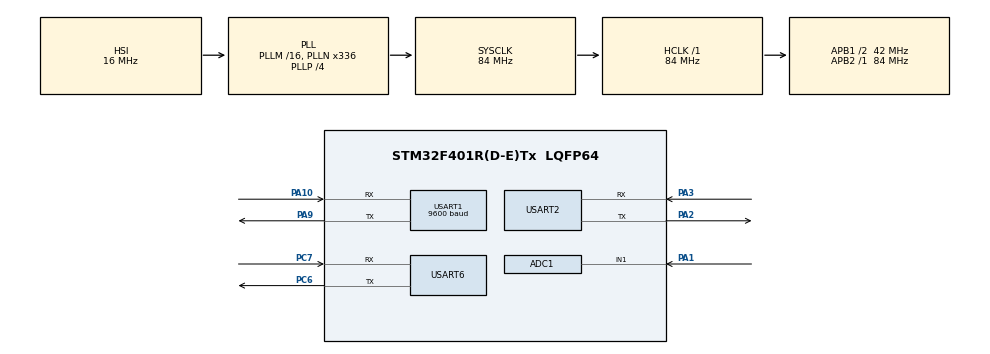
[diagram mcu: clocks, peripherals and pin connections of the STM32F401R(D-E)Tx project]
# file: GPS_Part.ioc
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ADC1.Channel-0\#ChannelRegularConversion=ADC_CHANNEL_1
ADC1.NbrOfConversionFlag=1
ADC1.Rank-0\#ChannelRegularConversion=1
ADC1.SamplingTime-0\#ChannelRegularConversion=ADC_SAMPLETIME_3CYCLES
ADC1.master=1
Dma.Request0=USART1_RX
Dma.USART1_RX.0.Direction=DMA_PERIPH_TO_MEMORY
Dma.USART1_RX.0.FIFOMode=DMA_FIFOMODE_DISABLE
Dma.USART1_RX.0.Instance=DMA2_Stream2
Dma.USART1_RX.0.MemDataAlignment=DMA_MDATAALIGN_BYTE
Dma.USART1_RX.0.MemInc=DMA_MINC_ENABLE
Dma.USART1_RX.0.Mode=DMA_CIRCULAR
Dma.USART1_RX.0.PeriphDataAlignment=DMA_PDATAALIGN_BYTE
Dma.USART1_RX.0.PeriphInc=DMA_PINC_DISABLE
Dma.USART1_RX.0.Priority=DMA_PRIORITY_LOW
Mcu.Family=STM32F4
Mcu.Name=STM32F401R(D-E)Tx
Mcu.Package=LQFP64
NVIC.DMA2_Stream2_IRQn=true\:0\:0\:false\:false\:true\:false\:true\:true
NVIC.PriorityGroup=NVIC_PRIORITYGROUP_0
PA1.Signal=ADCx_IN1
PA10.Mode=Asynchronous
PA10.Signal=USART1_RX
PA2.Mode=Asynchronous
PA2.Signal=USART2_TX
PA3.Mode=Asynchronous
PA3.Signal=USART2_RX
PA9.Mode=Asynchronous
PA9.Signal=USART1_TX
PC14-OSC32_IN.Mode=LSE-External-Oscillator
PC14-OSC32_IN.Signal=RCC_OSC32_IN
PC15-OSC32_OUT.Mode=LSE-External-Oscillator
PC15-OSC32_OUT.Signal=RCC_OSC32_OUT
PC6.Mode=Asynchronous
PC6.Signal=USART6_TX
PC7.Mode=Asynchronous
PC7.Signal=USART6_RX
PH0\ -\ OSC_IN.Mode=HSE-External-Oscillator
PH0\ -\ OSC_IN.Signal=RCC_OSC_IN
PH1\ -\ OSC_OUT.Mode=HSE-External-Oscillator
PH1\ -\ OSC_OUT.Signal=RCC_OSC_OUT
ProjectManager.HeapSize=0x200
ProjectManager.StackSize=0x400
ProjectManager.TargetToolchain=STM32CubeIDE
RCC.48MHZClocksFreq_Value=48000000
RCC.AHBFreq_Value=84000000
RCC.APB1CLKDivider=RCC_HCLK_DIV2
RCC.APB1Freq_Value=42000000
RCC.APB1TimFreq_Value=84000000
RCC.APB2Freq_Value=84000000
RCC.APB2TimFreq_Value=84000000
RCC.CortexFreq_Value=84000000
RCC.HCLKFreq_Value=84000000
RCC.HSE_VALUE=8000000
RCC.HSI_VALUE=16000000
RCC.PLLN=336
RCC.PLLP=RCC_PLLP_DIV4
RCC.PLLQ=7
RCC.SYSCLKFreq_VALUE=84000000
RCC.SYSCLKSource=RCC_SYSCLKSOURCE_PLLCLK
RCC.VCOOutputFreq_Value=336000000
SH.ADCx_IN1.0=ADC1_IN1,IN1
USART1.BaudRate=9600
USART1.VirtualMode=VM_ASYNC
USART2.VirtualMode=VM_ASYNC
USART6.VirtualMode=VM_ASYNC
board=NUCLEO-F401RE

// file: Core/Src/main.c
/* USER CODE BEGIN Header */
/**
  ******************************************************************************
  * @file           : main.c
  * @brief          : Main program body
  ******************************************************************************
  * @attention
  *
  * Copyright (c) 2024 STMicroelectronics.
  * All rights reserved.
  *
  * This software is licensed under terms that can be found in the LICENSE file
  * in the root directory of this software component.
  * If no LICENSE file comes with this software, it is provided AS-IS.
  *
  ******************************************************************************
  */
/* USER CODE END Header */
#include "main.h"

/* USER CODE BEGIN Includes */

#include <stdio.h>
#include <string.h>
#include <stdlib.h>

/* USER CODE END Includes */

ADC_HandleTypeDef hadc1;

UART_HandleTypeDef huart1;
UART_HandleTypeDef huart2;
UART_HandleTypeDef huart6;
DMA_HandleTypeDef hdma_usart1_rx;

/* USER CODE BEGIN PV */

uint8_t rx_data[750];
char tx_data[750];
char GPS_payload[100];
uint8_t flag = 0;
static int msg_index;
char *ptr;

int count;
float dustDensity;
float Vo;
float time,latitude,longitude;
int hour,min,sec;

/* USER CODE END PV */

void SystemClock_Config(void);
static void MX_GPIO_Init(void);
static void MX_DMA_Init(void);
static void MX_USART2_UART_Init(void);
static void MX_USART1_UART_Init(void);
static void MX_USART6_UART_Init(void);
static void MX_ADC1_Init(void);

/* USER CODE BEGIN 0 */

void HAL_UART_RxCpltCallback(UART_HandleTypeDef *huart){
	flag = 1;
}

void get_location(void){
	//HAL_UART_Transmit(&huart2, rx_data, strlen(rx_data), HAL_MAX_DELAY);
	if (flag == 1){
		msg_index = 0;
		strcpy(tx_data,(char*)rx_data);
		ptr = strstr(tx_data,"GPRMC");
		if (*ptr == 'G'){
			while(1){
				GPS_payload[msg_index] = *ptr;
				msg_index++;
				*ptr = *(ptr + msg_index);
				if (*ptr == '\n'){
					GPS_payload[msg_index] = '\0';
					break;
				}
			}
			sscanf(GPS_payload,"GPRMC,%f,A,%f,N,%f,",&time,&latitude,&longitude);
			gps_to_standard();
			HAL_Delay(1000);
			flag = 0;
			count = 0;
			dustDensity = 0;
		}
	}
}

void gps_to_standard(void) {
    char data[100];

    hour = (int)time / 10000;
    min = (int)(time-(hour*10000))/ 100;
    sec = (int)(time-(hour*10000)-(min*100));

    int degree_lat = (int)latitude / 100;
    float minutes_lat = (latitude - (degree_lat * 100)) / 60;
    float lat_decimal = degree_lat + minutes_lat;

    int degree_long = (int)longitude / 100;
    float minutes_long = (longitude - (degree_long * 100)) / 60;
    float long_decimal = degree_long + minutes_long;

    float dustAvg = dustDensity/count;
    sprintf(data, "%d:%d:%d %.4f %.4f %.2f\r\n", hour+7,
    		min, sec, lat_decimal, long_decimal, dustAvg);

    if (latitude != 0 && longitude != 0){
        HAL_UART_Transmit(&huart6, (uint8_t*)data, strlen(data), HAL_MAX_DELAY);
    }
    HAL_UART_Transmit(&huart2, (uint8_t*)data, strlen(data), HAL_MAX_DELAY);
}

/* USER CODE END 0 */

int main(void)
{

  /* MCU Configuration--------------------------------------------------------*/

  /* Reset of all peripherals, Initializes the Flash interface and the Systick. */
  HAL_Init();

  /* Configure the system clock */
  SystemClock_Config();

  /* Initialize all configured peripherals */
  MX_GPIO_Init();
  MX_DMA_Init();
  MX_USART2_UART_Init();
  MX_USART1_UART_Init();
  MX_USART6_UART_Init();
  MX_ADC1_Init();
  /* USER CODE BEGIN 2 */
  HAL_UART_Receive_DMA(&huart1, (uint8_t*)rx_data, 700);
  /* USER CODE END 2 */

  /* Infinite loop */
  /* USER CODE BEGIN WHILE */
  while (1)
  {
	HAL_ADC_Start(&hadc1);
	float adcValue = 0;
	if (HAL_ADC_PollForConversion(&hadc1, HAL_MAX_DELAY) == HAL_OK){
		adcValue = HAL_ADC_GetValue(&hadc1);
	  	Vo = (adcValue / 4096.0) *  5.0;
	  	if (Vo > 0){
		  dustDensity += Vo*170.0;
		  count++;
	  	}
	}
	HAL_Delay(100);
    /* USER CODE END WHILE */

    /* USER CODE BEGIN 3 */
	get_location();
  }
  /* USER CODE END 3 */
}

void SystemClock_Config(void)
{
  RCC_OscInitTypeDef RCC_OscInitStruct = {0};
  RCC_ClkInitTypeDef RCC_ClkInitStruct = {0};

  /** Configure the main internal regulator output voltage
  */
  __HAL_RCC_PWR_CLK_ENABLE();
  __HAL_PWR_VOLTAGESCALING_CONFIG(PWR_REGULATOR_VOLTAGE_SCALE2);

  /** Initializes the RCC Oscillators according to the specified parameters
  * in the RCC_OscInitTypeDef structure.
  */
  RCC_OscInitStruct.OscillatorType = RCC_OSCILLATORTYPE_HSI;
  RCC_OscInitStruct.HSIState = RCC_HSI_ON;
  RCC_OscInitStruct.HSICalibrationValue = RCC_HSICALIBRATION_DEFAULT;
  RCC_OscInitStruct.PLL.PLLState = RCC_PLL_ON;
  RCC_OscInitStruct.PLL.PLLSource = RCC_PLLSOURCE_HSI;
  RCC_OscInitStruct.PLL.PLLM = 16;
  RCC_OscInitStruct.PLL.PLLN = 336;
  RCC_OscInitStruct.PLL.PLLP = RCC_PLLP_DIV4;
  RCC_OscInitStruct.PLL.PLLQ = 7;
  if (HAL_RCC_OscConfig(&RCC_OscInitStruct) != HAL_OK)
  {
    Error_Handler();
  }

  /** Initializes the CPU, AHB and APB buses clocks
  */
  RCC_ClkInitStruct.ClockType = RCC_CLOCKTYPE_HCLK|RCC_CLOCKTYPE_SYSCLK
                              |RCC_CLOCKTYPE_PCLK1|RCC_CLOCKTYPE_PCLK2;
  RCC_ClkInitStruct.SYSCLKSource = RCC_SYSCLKSOURCE_PLLCLK;
  RCC_ClkInitStruct.AHBCLKDivider = RCC_SYSCLK_DIV1;
  RCC_ClkInitStruct.APB1CLKDivider = RCC_HCLK_DIV2;
  RCC_ClkInitStruct.APB2CLKDivider = RCC_HCLK_DIV1;

  if (HAL_RCC_ClockConfig(&RCC_ClkInitStruct, FLASH_LATENCY_2) != HAL_OK)
  {
    Error_Handler();
  }
}

static void MX_ADC1_Init(void)
{

  ADC_ChannelConfTypeDef sConfig = {0};

  /** Configure the global features of the ADC (Clock, Resolution, Data Alignment and number of conversion)
  */
  hadc1.Instance = ADC1;
  hadc1.Init.ClockPrescaler = ADC_CLOCK_SYNC_PCLK_DIV4;
  hadc1.Init.Resolution = ADC_RESOLUTION_12B;
  hadc1.Init.ScanConvMode = DISABLE;
  hadc1.Init.ContinuousConvMode = DISABLE;
  hadc1.Init.DiscontinuousConvMode = DISABLE;
  hadc1.Init.ExternalTrigConvEdge = ADC_EXTERNALTRIGCONVEDGE_NONE;
  hadc1.Init.ExternalTrigConv = ADC_SOFTWARE_START;
  hadc1.Init.DataAlign = ADC_DATAALIGN_RIGHT;
  hadc1.Init.NbrOfConversion = 1;
  hadc1.Init.DMAContinuousRequests = DISABLE;
  hadc1.Init.EOCSelection = ADC_EOC_SINGLE_CONV;
  if (HAL_ADC_Init(&hadc1) != HAL_OK)
  {
    Error_Handler();
  }

  /** Configure for the selected ADC regular channel its corresponding rank in the sequencer and its sample time.
  */
  sConfig.Channel = ADC_CHANNEL_1;
  sConfig.Rank = 1;
  sConfig.SamplingTime = ADC_SAMPLETIME_3CYCLES;
  if (HAL_ADC_ConfigChannel(&hadc1, &sConfig) != HAL_OK)
  {
    Error_Handler();
  }

}

static void MX_USART1_UART_Init(void)
{

  huart1.Instance = USART1;
  huart1.Init.BaudRate = 9600;
  huart1.Init.WordLength = UART_WORDLENGTH_8B;
  huart1.Init.StopBits = UART_STOPBITS_1;
  huart1.Init.Parity = UART_PARITY_NONE;
  huart1.Init.Mode = UART_MODE_TX_RX;
  huart1.Init.HwFlowCtl = UART_HWCONTROL_NONE;
  huart1.Init.OverSampling = UART_OVERSAMPLING_16;
  if (HAL_UART_Init(&huart1) != HAL_OK)
  {
    Error_Handler();
  }

}

static void MX_USART2_UART_Init(void)
{

  huart2.Instance = USART2;
  huart2.Init.BaudRate = 115200;
  huart2.Init.WordLength = UART_WORDLENGTH_8B;
  huart2.Init.StopBits = UART_STOPBITS_1;
  huart2.Init.Parity = UART_PARITY_NONE;
  huart2.Init.Mode = UART_MODE_TX_RX;
  huart2.Init.HwFlowCtl = UART_HWCONTROL_NONE;
  huart2.Init.OverSampling = UART_OVERSAMPLING_16;
  if (HAL_UART_Init(&huart2) != HAL_OK)
  {
    Error_Handler();
  }

}

static void MX_USART6_UART_Init(void)
{

  huart6.Instance = USART6;
  huart6.Init.BaudRate = 115200;
  huart6.Init.WordLength = UART_WORDLENGTH_8B;
  huart6.Init.StopBits = UART_STOPBITS_1;
  huart6.Init.Parity = UART_PARITY_NONE;
  huart6.Init.Mode = UART_MODE_TX_RX;
  huart6.Init.HwFlowCtl = UART_HWCONTROL_NONE;
  huart6.Init.OverSampling = UART_OVERSAMPLING_16;
  if (HAL_UART_Init(&huart6) != HAL_OK)
  {
    Error_Handler();
  }

}

static void MX_DMA_Init(void)
{

  /* DMA controller clock enable */
  __HAL_RCC_DMA2_CLK_ENABLE();

  /* DMA interrupt init */
  /* DMA2_Stream2_IRQn interrupt configuration */
  HAL_NVIC_SetPriority(DMA2_Stream2_IRQn, 0, 0);
  HAL_NVIC_EnableIRQ(DMA2_Stream2_IRQn);

}

static void MX_GPIO_Init(void)
{

  /* GPIO Ports Clock Enable */
  __HAL_RCC_GPIOC_CLK_ENABLE();
  __HAL_RCC_GPIOH_CLK_ENABLE();
  __HAL_RCC_GPIOA_CLK_ENABLE();

}

void Error_Handler(void)
{
  __disable_irq();
  while (1)
  {
  }
}
